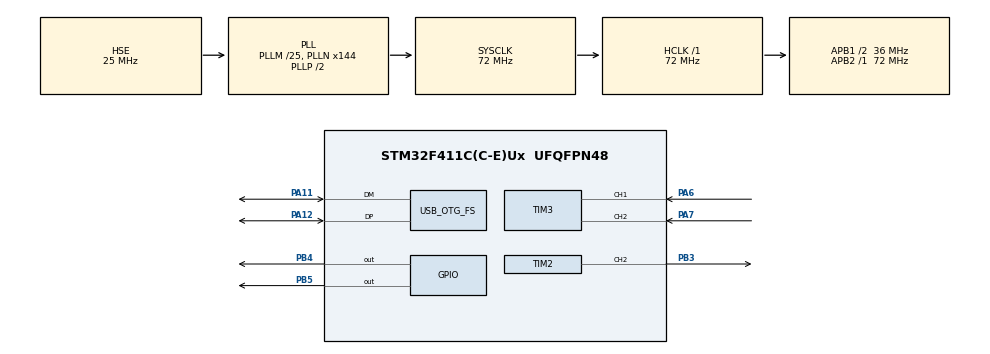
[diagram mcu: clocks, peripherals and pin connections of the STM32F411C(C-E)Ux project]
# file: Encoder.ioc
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Mcu.Family=STM32F4
Mcu.Name=STM32F411C(C-E)Ux
Mcu.Package=UFQFPN48
NVIC.OTG_FS_IRQn=true\:0\:0\:false\:false\:true\:false\:true\:true
NVIC.PriorityGroup=NVIC_PRIORITYGROUP_4
PA11.Mode=Device_Only
PA11.Signal=USB_OTG_FS_DM
PA12.Mode=Device_Only
PA12.Signal=USB_OTG_FS_DP
PA6.Signal=S_TIM3_CH1
PA7.Signal=S_TIM3_CH2
PB3.Signal=S_TIM2_CH2
PB4.Signal=GPIO_Output
PB5.Signal=GPIO_Output
PH0\ -\ OSC_IN.Mode=HSE-External-Oscillator
PH0\ -\ OSC_IN.Signal=RCC_OSC_IN
PH1\ -\ OSC_OUT.Mode=HSE-External-Oscillator
PH1\ -\ OSC_OUT.Signal=RCC_OSC_OUT
ProjectManager.HeapSize=0x200
ProjectManager.StackSize=0x400
ProjectManager.TargetToolchain=STM32CubeIDE
RCC.48MHZClocksFreq_Value=48000000
RCC.AHBFreq_Value=72000000
RCC.APB1CLKDivider=RCC_HCLK_DIV2
RCC.APB1Freq_Value=36000000
RCC.APB1TimFreq_Value=72000000
RCC.APB2Freq_Value=72000000
RCC.APB2TimFreq_Value=72000000
RCC.CortexFreq_Value=72000000
RCC.HCLKFreq_Value=72000000
RCC.HSE_VALUE=25000000
RCC.HSI_VALUE=16000000
RCC.LSE_VALUE=32768
RCC.PLLM=25
RCC.PLLN=144
RCC.PLLQ=3
RCC.SYSCLKFreq_VALUE=72000000
RCC.SYSCLKSource=RCC_SYSCLKSOURCE_PLLCLK
RCC.VCOOutputFreq_Value=144000000
SH.S_TIM2_CH2.0=TIM2_CH2,PWM Generation2 CH2
SH.S_TIM3_CH1.0=TIM3_CH1,Encoder_Interface
SH.S_TIM3_CH2.0=TIM3_CH2,Encoder_Interface
TIM2.Channel-PWM\ Generation2\ CH2=TIM_CHANNEL_2
TIM2.Period=20000
TIM2.Prescaler=72-1
TIM3.EncoderMode=TIM_ENCODERMODE_TI12
USB_DEVICE.CLASS_NAME_FS=CDC
USB_DEVICE.VirtualMode=Cdc
USB_DEVICE.VirtualModeFS=Cdc_FS
USB_OTG_FS.VirtualMode=Device_Only
VP_TIM2_VS_ClockSourceINT.Mode=Internal
VP_USB_DEVICE_VS_USB_DEVICE_CDC_FS.Mode=CDC_FS
board=custom

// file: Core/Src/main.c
/* USER CODE BEGIN Header */
/**
  ******************************************************************************
  * @file           : main.c
  * @brief          : Main program body
  ******************************************************************************
  * @attention
  *
  * Copyright (c) 2024 STMicroelectronics.
  * All rights reserved.
  *
  * This software is licensed under terms that can be found in the LICENSE file
  * in the root directory of this software component.
  * If no LICENSE file comes with this software, it is provided AS-IS.
  *
  ******************************************************************************
  */
/* USER CODE END Header */
#include "main.h"
#include "usb_device.h"

/* USER CODE BEGIN Includes */
#include "usbd_cdc_if.h"
#include "stdio.h"
#include "math.h"
/* USER CODE END Includes */

/* USER CODE BEGIN PTD */
#define ENCODER_PPR 673 // Pulsos por revolución del encoder
#define TIMER_PERIOD 65535 // Rango máximo del contador del timer
/* USER CODE END PTD */

TIM_HandleTypeDef htim2;
TIM_HandleTypeDef htim3;

void SystemClock_Config(void);
static void MX_GPIO_Init(void);
static void MX_TIM2_Init(void);
static void MX_TIM3_Init(void);

/* USER CODE BEGIN 0 */
char buffer[64];
void Motor_forward() {
    HAL_GPIO_WritePin(GPIOB, GPIO_PIN_5, 1);
    HAL_GPIO_WritePin(GPIOB, GPIO_PIN_4, 0);
}
void Motor_backward() {
    HAL_GPIO_WritePin(GPIOB, GPIO_PIN_5, 0);
    HAL_GPIO_WritePin(GPIOB, GPIO_PIN_4, 1);
}
void stop(){
    // Dirección hacia adelante
    HAL_GPIO_WritePin(GPIOB, GPIO_PIN_5, 0);
    HAL_GPIO_WritePin(GPIOB, GPIO_PIN_4, 0);
}
// Función para configurar la velocidad del motor (PWM)
void Motor_SetSpeed(uint8_t speed) {
    if (speed > 100) speed = 100; // Limita el valor máximo a 100%
    if (speed < 0) speed = 0; // Limita el valor minimo a 0%
    // Calcula el valor de comparación para el duty cycle
    uint32_t pulse = (speed * __HAL_TIM_GET_AUTORELOAD(&htim2)) / 100;

    // Establece el duty cycle
    __HAL_TIM_SET_COMPARE(&htim2, TIM_CHANNEL_2, pulse);
}
/* USER CODE END 0 */

int main(void)
{

  /* MCU Configuration--------------------------------------------------------*/

  /* Reset of all peripherals, Initializes the Flash interface and the Systick. */
  HAL_Init();

  /* Configure the system clock */
  SystemClock_Config();

  /* Initialize all configured peripherals */
  MX_GPIO_Init();
  MX_TIM2_Init();
  MX_USB_DEVICE_Init();
  MX_TIM3_Init();
  /* USER CODE BEGIN 2 */
  HAL_TIM_PWM_Start(&htim2, TIM_CHANNEL_2); // Velocidad de motor
  HAL_TIM_Encoder_Start(&htim3, TIM_CHANNEL_ALL); // Inicializa encoder
  uint32_t timer_counter, last_time = 0;
  uint32_t delta_t = 1000;
  float rpm;
  char buffer[64];
  uint8_t acum = 20;
  Motor_forward();
  Motor_SetSpeed(20);
  /* USER CODE END 2 */

  /* Infinite loop */
  while (1)
  {

      timer_counter = __HAL_TIM_GET_COUNTER(&htim3); // Lee el contador del encoder

      // Calcula RPM
      rpm = (timer_counter * 60.0f) / 673.0f; // 673 = Pulsos por revolución del encoder
      __HAL_TIM_SET_COUNTER(&htim3, 0); // Resetea el contador del encoder

      // Prepara el mensaje para imprimir
      snprintf(buffer, sizeof(buffer), "Velocidad: %d, RPM: %.2f\r\n", acum, rpm);
      CDC_Transmit_FS((uint8_t *)buffer, strlen(buffer)); // Transmite el mensaje por USB
      // Verifica si ha transcurrido el tiempo de muestreo
      if (HAL_GetTick() - last_time >= delta_t) {
          // Incrementa la velocidad acumulada
          acum += 5;
          if (acum > 100) {
              acum = 100; // Limita la velocidad máxima
          }
          Motor_SetSpeed(acum); // Ajusta la velocidad del motor
          last_time = HAL_GetTick(); // Actualiza el tiempo
      }

      HAL_Delay(10); // Retraso para evitar sobrecargar el CPU
  }
}

void SystemClock_Config(void)
{
  RCC_OscInitTypeDef RCC_OscInitStruct = {0};
  RCC_ClkInitTypeDef RCC_ClkInitStruct = {0};

  /** Configure the main internal regulator output voltage
  */
  __HAL_RCC_PWR_CLK_ENABLE();
  __HAL_PWR_VOLTAGESCALING_CONFIG(PWR_REGULATOR_VOLTAGE_SCALE1);

  /** Initializes the RCC Oscillators according to the specified parameters
  * in the RCC_OscInitTypeDef structure.
  */
  RCC_OscInitStruct.OscillatorType = RCC_OSCILLATORTYPE_HSE;
  RCC_OscInitStruct.HSEState = RCC_HSE_ON;
  RCC_OscInitStruct.PLL.PLLState = RCC_PLL_ON;
  RCC_OscInitStruct.PLL.PLLSource = RCC_PLLSOURCE_HSE;
  RCC_OscInitStruct.PLL.PLLM = 25;
  RCC_OscInitStruct.PLL.PLLN = 144;
  RCC_OscInitStruct.PLL.PLLP = RCC_PLLP_DIV2;
  RCC_OscInitStruct.PLL.PLLQ = 3;
  if (HAL_RCC_OscConfig(&RCC_OscInitStruct) != HAL_OK)
  {
    Error_Handler();
  }

  /** Initializes the CPU, AHB and APB buses clocks
  */
  RCC_ClkInitStruct.ClockType = RCC_CLOCKTYPE_HCLK|RCC_CLOCKTYPE_SYSCLK
                              |RCC_CLOCKTYPE_PCLK1|RCC_CLOCKTYPE_PCLK2;
  RCC_ClkInitStruct.SYSCLKSource = RCC_SYSCLKSOURCE_PLLCLK;
  RCC_ClkInitStruct.AHBCLKDivider = RCC_SYSCLK_DIV1;
  RCC_ClkInitStruct.APB1CLKDivider = RCC_HCLK_DIV2;
  RCC_ClkInitStruct.APB2CLKDivider = RCC_HCLK_DIV1;

  if (HAL_RCC_ClockConfig(&RCC_ClkInitStruct, FLASH_LATENCY_2) != HAL_OK)
  {
    Error_Handler();
  }
}

static void MX_TIM2_Init(void)
{

  TIM_ClockConfigTypeDef sClockSourceConfig = {0};
  TIM_MasterConfigTypeDef sMasterConfig = {0};
  TIM_OC_InitTypeDef sConfigOC = {0};

  htim2.Instance = TIM2;
  htim2.Init.Prescaler = 72-1;
  htim2.Init.CounterMode = TIM_COUNTERMODE_UP;
  htim2.Init.Period = 20000;
  htim2.Init.ClockDivision = TIM_CLOCKDIVISION_DIV1;
  htim2.Init.AutoReloadPreload = TIM_AUTORELOAD_PRELOAD_DISABLE;
  if (HAL_TIM_Base_Init(&htim2) != HAL_OK)
  {
    Error_Handler();
  }
  sClockSourceConfig.ClockSource = TIM_CLOCKSOURCE_INTERNAL;
  if (HAL_TIM_ConfigClockSource(&htim2, &sClockSourceConfig) != HAL_OK)
  {
    Error_Handler();
  }
  if (HAL_TIM_PWM_Init(&htim2) != HAL_OK)
  {
    Error_Handler();
  }
  sMasterConfig.MasterOutputTrigger = TIM_TRGO_RESET;
  sMasterConfig.MasterSlaveMode = TIM_MASTERSLAVEMODE_DISABLE;
  if (HAL_TIMEx_MasterConfigSynchronization(&htim2, &sMasterConfig) != HAL_OK)
  {
    Error_Handler();
  }
  sConfigOC.OCMode = TIM_OCMODE_PWM1;
  sConfigOC.Pulse = 0;
  sConfigOC.OCPolarity = TIM_OCPOLARITY_HIGH;
  sConfigOC.OCFastMode = TIM_OCFAST_DISABLE;
  if (HAL_TIM_PWM_ConfigChannel(&htim2, &sConfigOC, TIM_CHANNEL_2) != HAL_OK)
  {
    Error_Handler();
  }
  HAL_TIM_MspPostInit(&htim2);

}

static void MX_TIM3_Init(void)
{

  TIM_Encoder_InitTypeDef sConfig = {0};
  TIM_MasterConfigTypeDef sMasterConfig = {0};

  htim3.Instance = TIM3;
  htim3.Init.Prescaler = 0;
  htim3.Init.CounterMode = TIM_COUNTERMODE_UP;
  htim3.Init.Period = 65535;
  htim3.Init.ClockDivision = TIM_CLOCKDIVISION_DIV1;
  htim3.Init.AutoReloadPreload = TIM_AUTORELOAD_PRELOAD_DISABLE;
  sConfig.EncoderMode = TIM_ENCODERMODE_TI12;
  sConfig.IC1Polarity = TIM_ICPOLARITY_RISING;
  sConfig.IC1Selection = TIM_ICSELECTION_DIRECTTI;
  sConfig.IC1Prescaler = TIM_ICPSC_DIV1;
  sConfig.IC1Filter = 0;
  sConfig.IC2Polarity = TIM_ICPOLARITY_RISING;
  sConfig.IC2Selection = TIM_ICSELECTION_DIRECTTI;
  sConfig.IC2Prescaler = TIM_ICPSC_DIV1;
  sConfig.IC2Filter = 0;
  if (HAL_TIM_Encoder_Init(&htim3, &sConfig) != HAL_OK)
  {
    Error_Handler();
  }
  sMasterConfig.MasterOutputTrigger = TIM_TRGO_RESET;
  sMasterConfig.MasterSlaveMode = TIM_MASTERSLAVEMODE_DISABLE;
  if (HAL_TIMEx_MasterConfigSynchronization(&htim3, &sMasterConfig) != HAL_OK)
  {
    Error_Handler();
  }

}

static void MX_GPIO_Init(void)
{
  GPIO_InitTypeDef GPIO_InitStruct = {0};

  /* GPIO Ports Clock Enable */
  __HAL_RCC_GPIOH_CLK_ENABLE();
  __HAL_RCC_GPIOA_CLK_ENABLE();
  __HAL_RCC_GPIOB_CLK_ENABLE();

  /*Configure GPIO pin Output Level */
  HAL_GPIO_WritePin(GPIOB, GPIO_PIN_4|GPIO_PIN_5, GPIO_PIN_RESET);

  /*Configure GPIO pins : PB4 PB5 */
  GPIO_InitStruct.Pin = GPIO_PIN_4|GPIO_PIN_5;
  GPIO_InitStruct.Mode = GPIO_MODE_OUTPUT_PP;
  GPIO_InitStruct.Pull = GPIO_NOPULL;
  GPIO_InitStruct.Speed = GPIO_SPEED_FREQ_LOW;
  HAL_GPIO_Init(GPIOB, &GPIO_InitStruct);

}

void Error_Handler(void)
{
  __disable_irq();
  while (1)
  {
  }
}
